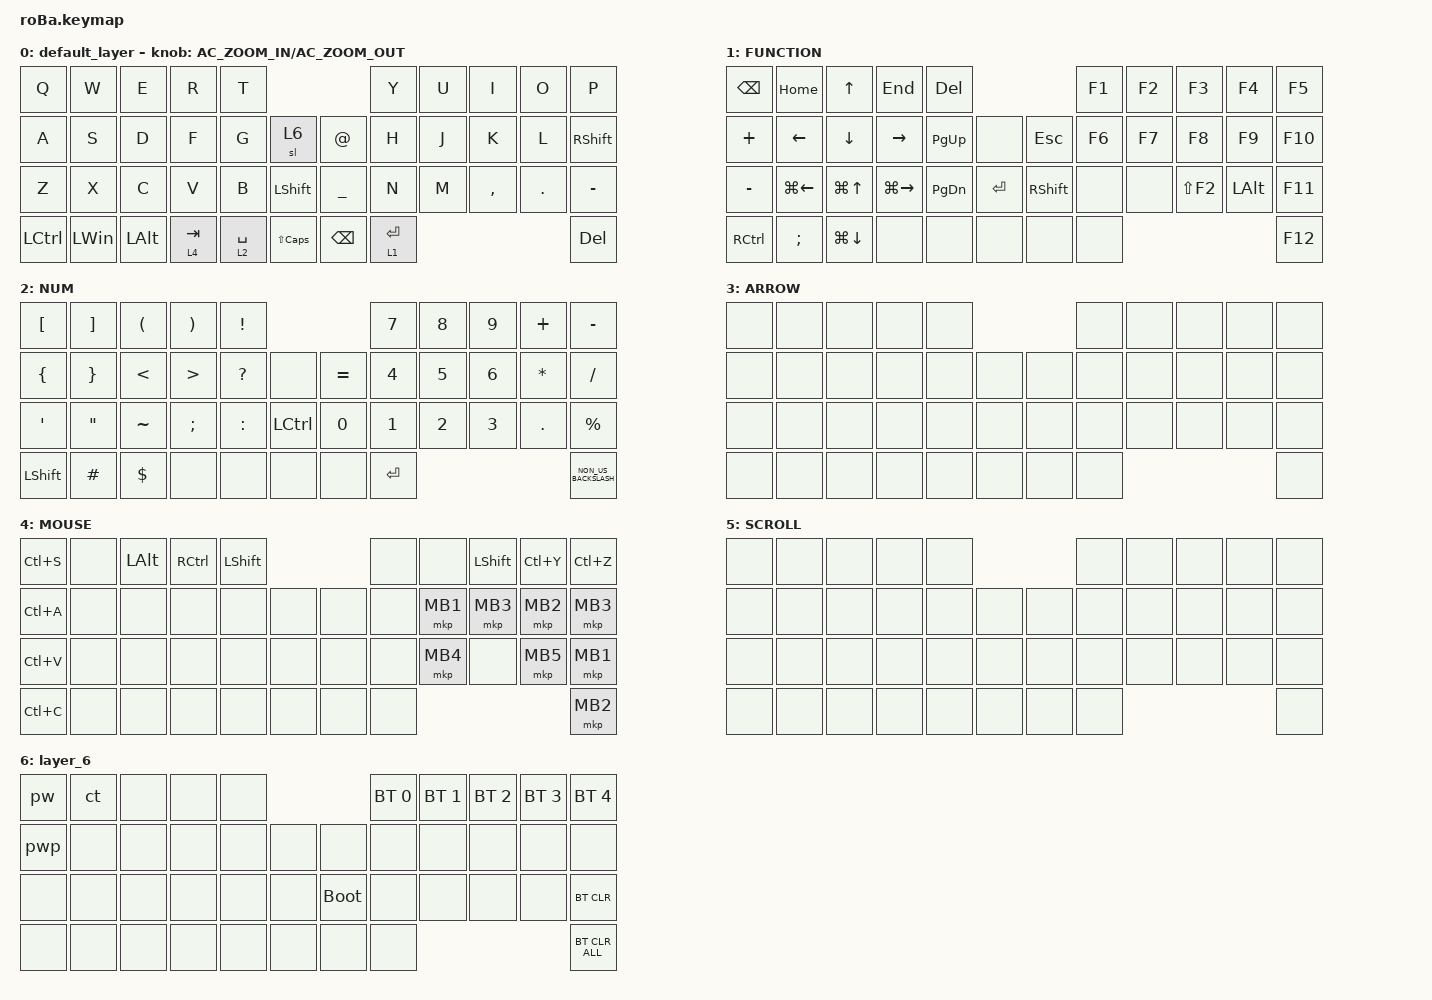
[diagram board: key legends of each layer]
#include <behaviors.dtsi>
#include <dt-bindings/zmk/bt.h>
#include <dt-bindings/zmk/keys.h>
#include <dt-bindings/zmk/pointing.h>

&mt {
    flavor = "balanced";
    quick-tap-ms = <0>;
};

&trackball {
    //automouse-layer = <4>;

    scroll-layers = <5>;

    // arrows {
    //     layers = <3>;
    //     bindings =
    //         <&kp RIGHT_ARROW>,
    //         <&kp LEFT_ARROW>,
    //         <&kp UP_ARROW>,
    //         <&kp DOWN_ARROW>;
    //     tick = <10>;
    //     wait-ms = <5>;
    //     tap-ms = <5>;
    // };
};

/ {
    combos {
        compatible = "zmk,combos";

        tab {
            bindings = <&kp TAB>;
            key-positions = <11 12>;
        };

        shift_tab {
            bindings = <&kp LS(TAB)>;
            key-positions = <12 13>;
        };

        muhennkann {
            bindings = <&to_layer_0 INT_MUHENKAN>;
            key-positions = <11 10>;
        };

        double_quotation {
            bindings = <&kp DOUBLE_QUOTES>;
            key-positions = <20 21>;
        };

        eq {
            bindings = <&kp EQUAL>;
            key-positions = <24 25>;
        };
    };

    macros {
        to_layer_0: to_layer_0 {
            compatible = "zmk,behavior-macro-one-param";
            #binding-cells = <1>;
            bindings = <&to 0 &macro_param_1to1 &kp MACRO_PLACEHOLDER>;
            label = "TO_LAYER_0";
        };

        /*
        mkp_exit_AML: mkp_exit_AML {
            compatible = "zmk,behavior-macro-one-param";
            #binding-cells = <1>;
            bindings =
                <&macro_press>,
                <&macro_param_1to1 &mkp MACRO_PLACEHOLDER>,
                <&macro_pause_for_release>,
                <&macro_release>,
                <&macro_param_1to1 &mkp MACRO_PLACEHOLDER>,
                <&macro_tap>,
                <&sl 4>;

            label = "MKP_EXIT_AML";
        };
*/

        mkp_exit_AML: mkp_exit_AML {
            compatible = "zmk,behavior-macro-one-param";
            #binding-cells = <1>;
            bindings =
                <&mo 4>,
                <&macro_press>,
                <&macro_param_1to1 &mkp MACRO_PLACEHOLDER>,
                <&macro_pause_for_release>,
                <&macro_release>,
                <&macro_param_1to1 &mkp MACRO_PLACEHOLDER>,
                <&macro_tap>;

            label = "MKP_EXIT_AML";
        };

        pw: pw {
            compatible = "zmk,behavior-macro";
            #binding-cells = <0>;
            bindings = <&none &kp LS(P) &kp A &kp S &kp S &kp W &kp N0 &kp R &kp D &kp EXCL &kp NUMBER_2>;
            label = "PW";
        };

        pwp: pwp {
            compatible = "zmk,behavior-macro";
            #binding-cells = <0>;
            bindings = <&none &kp LS(S) &kp A &kp K &kp U &kp R &kp A &kp I &kp N2 &kp N2 &kp N9 &kp N9 &kp N6 &kp N4 &kp N1 &kp N2>;
            label = "PWP";
        };

        ct: new_macro {
            compatible = "zmk,behavior-macro";
            #binding-cells = <0>;
            bindings = <&none &kp N6 &kp W &kp LS(W) &kp LS(J) &kp LS(M) &kp LS(T) &kp N7 &kp EXCL>;
            label = "NEW_MACRO";
        };
    };

    behaviors {
        lt_to_layer_0: lt_to_layer_0 {
            compatible = "zmk,behavior-hold-tap";
            label = "LAYER_TAP_TO_0";
            bindings = <&mo>, <&to_layer_0>;

            #binding-cells = <2>;
            tapping-term-ms = <200>;
        };
    };

    keymap {
        compatible = "zmk,keymap";

        default_layer {
            bindings = <
&kp Q      &kp W         &kp E         &kp R      &kp T                                           &kp Y        &kp U  &kp I      &kp O    &kp P
&kp A      &kp S         &kp D         &kp F      &kp G        &sl 6               &kp AT_SIGN    &kp H        &kp J  &kp K      &kp L    &kp RIGHT_SHIFT
&kp Z      &kp X         &kp C         &kp V      &kp B        &kp LEFT_SHIFT      &kp UNDER      &kp N        &kp M  &kp COMMA  &kp DOT  &kp MINUS
&kp LCTRL  &kp LEFT_WIN  &kp LEFT_ALT  &lt 4 TAB  &lt 2 SPACE  &kp LS(CAPS)        &kp BACKSPACE  &lt 1 ENTER                             &kp DEL
            >;

            sensor-bindings = <&inc_dec_kp C_AC_ZOOM_IN C_AC_ZOOM_OUT>;
        };

        FUNCTION {
            bindings = <
&kp BACKSPACE  &kp HOME      &kp UP_ARROW      &kp END        &kp DEL                                        &kp F1  &kp F2  &kp F3      &kp F4        &kp F5
&kp PLUS       &kp LEFT      &kp DOWN          &kp RIGHT      &kp PG_UP      &none          &kp ESC          &kp F6  &kp F7  &kp F8      &kp F9        &kp F10
&kp MINUS      &kp LG(LEFT)  &kp LG(UP_ARROW)  &kp LG(RIGHT)  &kp PAGE_DOWN  &kp ENTER      &kp RIGHT_SHIFT  &none   &none   &kp LS(F2)  &kp LEFT_ALT  &kp F11
&kp RCTRL      &kp SEMI      &kp LG(DOWN)      &none          &none          &none          &none            &none                                     &kp F12
            >;
        };

        NUM {
            bindings = <
&kp LEFT_BRACKET  &kp RIGHT_BRACKET  &kp LEFT_PARENTHESIS  &kp RIGHT_PARENTHESIS  &kp EXCLAMATION                            &kp N7     &kp N8  &kp N9  &kp PLUS    &kp MINUS
&kp LEFT_BRACE    &kp RIGHT_BRACE    &kp LESS_THAN         &kp GREATER_THAN       &kp QUESTION     &none          &kp EQUAL  &kp N4     &kp N5  &kp N6  &kp ASTRK   &kp SLASH
&kp SQT           &kp DOUBLE_QUOTES  &kp TILDE             &kp SEMI               &kp COLON        &kp LCTRL      &kp N0     &kp N1     &kp N2  &kp N3  &kp PERIOD  &kp PERCENT
&kp LEFT_SHIFT    &kp HASH           &kp DOLLAR            &none                  &none            &none          &none      &kp ENTER                              &kp NON_US_BACKSLASH
            >;
        };

        ARROW {
            bindings = <
&none  &none  &none  &none  &none                    &none  &none  &none  &none  &none
&none  &none  &none  &none  &none  &none      &none  &none  &none  &none  &none  &none
&none  &none  &none  &none  &none  &none      &none  &none  &none  &none  &none  &none
&none  &none  &none  &none  &none  &none      &none  &none                       &none
            >;
        };

        MOUSE {
            bindings = <
&kp LC(S)  &none  &kp LEFT_ALT  &kp RIGHT_CONTROL  &kp LEFT_SHIFT                    &none  &none     &kp LEFT_SHIFT  &kp LC(Y)  &kp LC(Z)
&kp LC(A)  &none  &none         &none              &none           &none      &none  &none  &mkp MB1  &mkp MB3        &mkp MB2   &mkp MB3
&kp LC(V)  &none  &none         &none              &none           &none      &none  &none  &mkp MB4  &none           &mkp MB5   &mkp MB1
&kp LC(C)  &none  &none         &none              &none           &none      &none  &none                                       &mkp MB2
            >;
        };

        SCROLL {
            bindings = <
&none  &none  &none  &none  &none                    &none  &none  &none  &none  &none
&none  &none  &none  &none  &none  &none      &none  &none  &none  &none  &none  &none
&none  &none  &none  &none  &none  &none      &none  &none  &none  &none  &none  &none
&none  &none  &none  &none  &none  &none      &none  &none                       &none
            >;
        };

        layer_6 {
            bindings = <
&pw    &ct    &none  &none  &none                          &bt BT_SEL 0  &bt BT_SEL 1  &bt BT_SEL 2  &bt BT_SEL 3  &bt BT_SEL 4
&pwp   &none  &none  &none  &none  &none      &none        &none         &none         &none         &none         &none
&none  &none  &none  &none  &none  &none      &bootloader  &none         &none         &none         &none         &bt BT_CLR
&none  &none  &none  &none  &none  &none      &none        &none                                                   &bt BT_CLR_ALL
            >;
        };
    };
};
